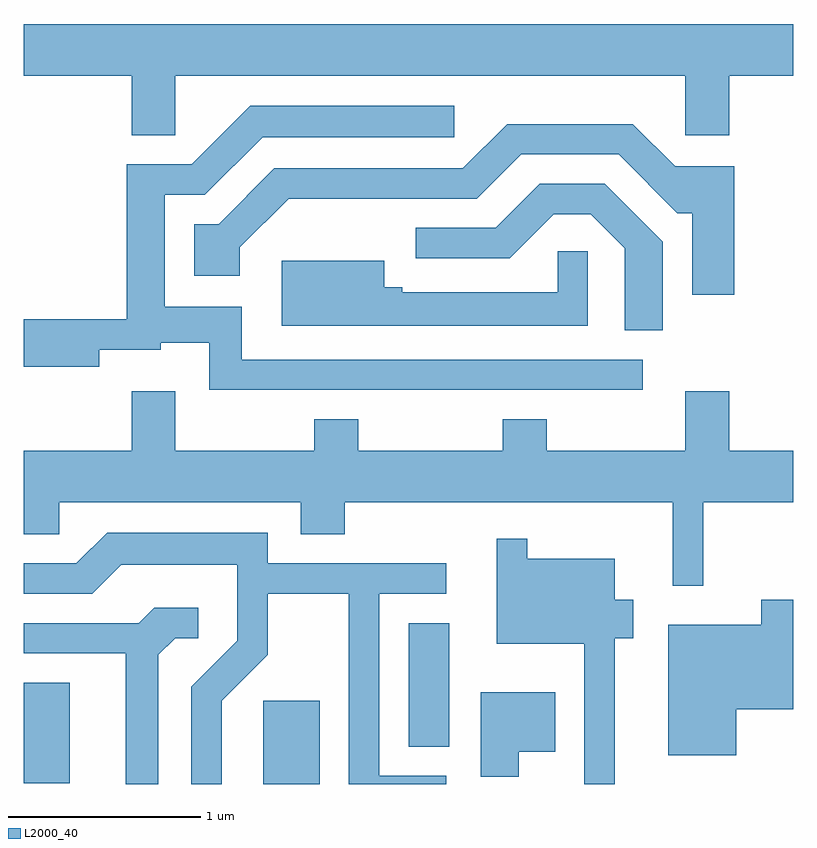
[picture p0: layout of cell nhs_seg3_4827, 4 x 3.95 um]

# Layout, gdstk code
import gdstk
lib = gdstk.Library(unit=1e-6, precision=1e-09)
def R(c, l, rs):  # rectangles x0, y0, x1, y1
    for r in rs: c.add(gdstk.rectangle(r[:2], r[2:], *l))
def P(c, l, *ps):  # polygons
    for p in ps: c.add(gdstk.Polygon(p, *l))
L2000_40 = (2000, 40)

nhs_seg3_4827 = lib.new_cell('nhs_seg3_4827')
R(nhs_seg3_4827, L2000_40, [(328.856,1117.892,329.149,1118.324), (327.611,1117.896,327.849,1118.419), (329.611,1118.086,329.824,1118.729)])
P(nhs_seg3_4827, L2000_40, [(328.399,1121.576),(331.051,1121.576),(331.051,1121.266),(331.279,1121.266),(331.279,1121.576),(331.611,1121.576),(331.611,1121.844),(327.611,1121.844),(327.611,1121.576),(328.171,1121.576),(328.171,1121.266),(328.399,1121.266)],
  [(330.828,1120.099),(328.744,1120.099),(328.744,1120.374),(328.344,1120.374),(328.344,1120.956),(328.552,1120.956),(328.852,1121.256),(329.848,1121.256),(329.848,1121.419),(328.789,1121.419),(328.484,1121.114),(328.146,1121.114),(328.146,1120.309),(327.611,1120.309),(327.611,1120.061),(328.004,1120.061),(328.004,1120.151),(328.324,1120.151),(328.324,1120.186),(328.576,1120.186),(328.576,1119.941),(330.828,1119.941)],
  [(331.304,1121.104),(330.997,1121.104),(330.777,1121.324),(330.124,1121.324),(329.894,1121.094),(328.914,1121.094),(328.624,1120.804),(328.496,1120.804),(328.496,1120.536),(328.734,1120.536),(328.734,1120.684),(328.987,1120.936),(329.967,1120.936),(330.197,1121.166),(330.704,1121.166),(331.009,1120.861),(331.086,1120.861),(331.086,1120.436),(331.304,1120.436)],
  [(330.934,1120.712),(330.632,1121.014),(330.294,1121.014),(330.064,1120.784),(329.648,1120.784),(329.648,1120.626),(330.137,1120.626),(330.367,1120.856),(330.559,1120.856),(330.736,1120.679),(330.736,1120.251),(330.934,1120.251)],
  [(330.544,1120.663),(330.386,1120.663),(330.386,1120.449),(329.579,1120.449),(329.579,1120.474),(329.484,1120.474),(329.484,1120.614),(328.951,1120.614),(328.951,1120.276),(330.544,1120.276)],
  [(331.144,1119.356),(331.611,1119.356),(331.611,1119.624),(331.279,1119.624),(331.279,1119.934),(331.051,1119.934),(331.051,1119.624),(330.329,1119.624),(330.329,1119.789),(330.101,1119.789),(330.101,1119.624),(329.349,1119.624),(329.349,1119.789),(329.121,1119.789),(329.121,1119.624),(328.399,1119.624),(328.399,1119.934),(328.171,1119.934),(328.171,1119.624),(327.611,1119.624),(327.611,1119.191),(327.794,1119.191),(327.794,1119.356),(329.051,1119.356),(329.051,1119.191),(329.279,1119.191),(329.279,1119.356),(330.986,1119.356),(330.986,1118.923),(331.144,1118.923)],
  [(328.639,1118.324),(328.879,1118.564),(328.879,1118.881),(329.301,1118.881),(329.301,1117.892),(329.808,1117.892),(329.808,1117.934),(329.459,1117.934),(329.459,1118.881),(329.808,1118.881),(329.808,1119.039),(328.879,1119.039),(328.879,1119.199),(328.044,1119.199),(327.884,1119.039),(327.611,1119.039),(327.611,1118.881),(327.967,1118.881),(328.117,1119.031),(328.721,1119.031),(328.721,1118.637),(328.481,1118.397),(328.481,1117.892),(328.639,1117.892)],
  [(330.684,1118.651),(330.779,1118.651),(330.779,1118.849),(330.684,1118.849),(330.684,1119.064),(330.229,1119.064),(330.229,1119.168),(330.071,1119.168),(330.071,1118.621),(330.526,1118.621),(330.526,1117.892),(330.684,1117.892)],
  [(331.314,1118.281),(331.611,1118.281),(331.611,1118.849),(331.446,1118.849),(331.446,1118.719),(330.961,1118.719),(330.961,1118.041),(331.314,1118.041)],
  [(328.309,1118.564),(328.397,1118.651),(328.518,1118.651),(328.518,1118.809),(328.289,1118.809),(328.209,1118.729),(327.611,1118.729),(327.611,1118.571),(328.141,1118.571),(328.141,1117.892),(328.309,1117.892)],
  [(330.184,1118.061),(330.374,1118.061),(330.374,1118.369),(329.986,1118.369),(329.986,1117.931),(330.184,1117.931)])

lib.write_gds('nhs_seg3_4827.gds')
